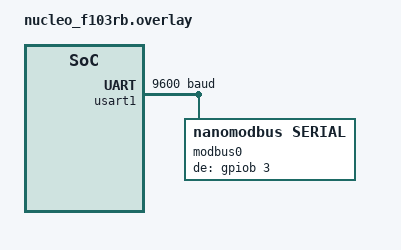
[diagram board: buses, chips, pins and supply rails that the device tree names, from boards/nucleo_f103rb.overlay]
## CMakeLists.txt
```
cmake_minimum_required(VERSION 3.20.0)

list(APPEND ZEPHYR_EXTRA_MODULES ${CMAKE_CURRENT_SOURCE_DIR}/../..)

find_package(Zephyr REQUIRED HINTS $ENV{ZEPHYR_BASE})
project(nanomodbus_client_rtu)
target_sources(app PRIVATE src/main.c)
```

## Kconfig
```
# Copyright (c) 2026 nanoMODBUS Contributors
# SPDX-License-Identifier: MIT

mainmenu "nanoMODBUS RTU client sample"

config CLIENT_RTU_POLLING
	bool "Poll the RTU server from main()"
	default n
	help
	  Run the sample's built-in FC03/FC06 polling loop.

	  The loop is disabled by default, so the client starts, registers with the
	  shell and then leaves the RTU bus idle. That keeps the bus free for an
	  external Modbus master or for the interactive "nmbs" shell commands.

	  Enable it to make the sample a self-contained client that reads holding
	  registers and bumps a heartbeat register every second:

	    west build -p always -b nucleo_h743zi samples/client_rtu \
	      -d build_client_rtu \
	      -- -DCONFIG_CLIENT_RTU_POLLING=y

source "Kconfig.zephyr"
```

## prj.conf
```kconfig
CONFIG_NANOMODBUS=y
CONFIG_NANOMODBUS_CLIENT=y
CONFIG_NANOMODBUS_TRANSPORT_SERIAL=y
CONFIG_SERIAL=y
CONFIG_GPIO=y
CONFIG_LOG=y
CONFIG_SHELL=y
CONFIG_SHELL_BACKENDS=y
CONFIG_SHELL_BACKEND_SERIAL=y
CONFIG_NANOMODBUS_SHELL=y
```

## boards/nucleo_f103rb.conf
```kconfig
# Copyright (c) 2026 nanoMODBUS Contributors
# SPDX-License-Identifier: MIT

# Interrupt-driven receive keeps the client usable while it sleeps between
# polls, without requiring DMA-capable (non-cacheable) buffers. No STM32F1
# UART node exposes DMA channels, so "auto" would resolve here as well; the
# overlay states it explicitly.
CONFIG_UART_INTERRUPT_DRIVEN=y
CONFIG_UART_USE_RUNTIME_CONFIGURE=y
```

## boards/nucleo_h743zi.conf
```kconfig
# Copyright (c) 2026 nanoMODBUS Contributors
# SPDX-License-Identifier: MIT

# Interrupt-driven receive keeps the client usable while it sleeps between
# polls, without requiring DMA-capable (non-cacheable) buffers.
CONFIG_UART_INTERRUPT_DRIVEN=y
CONFIG_UART_USE_RUNTIME_CONFIGURE=y
```

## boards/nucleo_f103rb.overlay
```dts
/*
 * Copyright (c) 2026 nanoMODBUS Contributors
 * SPDX-License-Identifier: MIT
 *
 * USART1 is the Modbus RTU bus on PA9 (TX) / PA10 (RX). This board devicetree
 * already muxes those pins at 115200, and it keeps the console and the shell
 * backend on USART2 (PA2/PA3), the ST-LINK virtual COM port, so the two do not
 * conflict. Only the Modbus child node has to be added here.
 *
 * PB3 drives the RS-485 transceiver RE/DE pin in software GPIO mode.
 * Because RE (active-low) and DE (active-high) are tied together on this
 * transceiver, a single active-high GPIO acts as both: high = TX, low = RX.
 *
 * PB3 is JTDO out of reset, so it cannot act as a GPIO while the full SWJ
 * configuration is selected. "jtag-disable" writes SWJ_CFG = 010, which
 * releases PB3, PB4 and PA15 while keeping SWD (PA13/PA14) available for
 * flashing and debugging.
 */

/ {
	aliases {
		modbus-uart = &usart1;
		modbus0 = &modbus0;
	};
};

// &pinctrl {
// 	swj-cfg = "jtag-disable";
// };

&usart1 {
	current-speed = <9600>;
	status = "okay";

	modbus0: modbus0 {
		compatible = "nanomodbus,serial";
		status = "okay";
		#address-cells = <1>;
		#size-cells = <0>;
		de-gpios = <&gpiob 3 GPIO_ACTIVE_HIGH>;
		de-mode = "auto";
		rx-mode = "auto";

		client_target: slave@1 {
			reg = <1>;
		};
	};
};
```

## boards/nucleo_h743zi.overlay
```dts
/*
 * Copyright (c) 2026 nanoMODBUS Contributors
 * SPDX-License-Identifier: MIT
 *
 * USART2 is the Modbus RTU bus on PD5 (TX) / PD6 (RX). The console uses the
 * ST-LINK virtual COM port (USART3), so the two do not conflict.
 *
 * PD4 drives the RS-485 transceiver RE/DE pin in software GPIO mode.
 * Because RE (active-low) and DE (active-high) are tied together on this
 * transceiver, a single active-high GPIO acts as both: high = TX, low = RX.
 */

/ {
	aliases {
		modbus-uart = &usart2;
		modbus0 = &modbus0;
	};
};

&usart2 {
	pinctrl-0 = <&usart2_tx_pd5 &usart2_rx_pd6>;
	pinctrl-names = "default";
	current-speed = <115200>;
	status = "okay";

	modbus0: modbus0 {
		compatible = "nanomodbus,serial";
		status = "okay";
		#address-cells = <1>;
		#size-cells = <0>;
		de-gpios = <&gpiod 4 GPIO_ACTIVE_HIGH>;
		de-mode = "auto";
		rx-mode = "auto";

		client_target: slave@1 {
			reg = <1>;
		};
	};
};
```

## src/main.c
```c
/*
 * Copyright (c) 2026 nanoMODBUS Contributors
 * SPDX-License-Identifier: MIT
 *
 * Modbus RTU client sample.
 *
 * USART2 is the Modbus bus. On the Nucleo-H743ZI the ST-LINK virtual COM port
 * (and therefore the console) is USART3, so the two do not conflict. The
 * board overlay only muxes TX/RX: this sample assumes a full-duplex link, such
 * as the USB-RS232 converter used on the bench. Add a `modbus-de` GPIO (or
 * hardware `de-enable` in devicetree) if your transceiver needs DE control.
 */

#include <zephyr/device.h>
#include <zephyr/drivers/gpio.h>
#include <zephyr/drivers/uart.h>
#include <zephyr/kernel.h>
#include <zephyr/logging/log.h>
#include <zephyr/nanomodbus/nanomodbus_z.h>
#include <zephyr/nanomodbus/nanomodbus_z_serial.h>
#ifdef CONFIG_NANOMODBUS_SHELL
#include <zephyr/nanomodbus/nanomodbus_z_shell.h>
#endif

LOG_MODULE_REGISTER(client_rtu_app, CONFIG_NANOMODBUS_LOG_LEVEL);

#define POLL_INTERVAL_MS 1000
#define READ_QUANTITY 4
#define HEARTBEAT_REGISTER 10

#if DT_NODE_EXISTS(DT_NODELABEL(modbus0))
#define MODBUS_NODE DT_NODELABEL(modbus0)
#elif DT_HAS_COMPAT_STATUS_OKAY(nanomodbus_serial)
#define MODBUS_NODE DT_COMPAT_GET_ANY_STATUS_OKAY(nanomodbus_serial)
#elif DT_HAS_COMPAT_STATUS_OKAY(zephyr_modbus_serial)
#define MODBUS_NODE DT_COMPAT_GET_ANY_STATUS_OKAY(zephyr_modbus_serial)
#elif DT_HAS_ALIAS(modbus_uart)
#define MODBUS_NODE DT_ALIAS(modbus_uart)
#elif DT_NODE_EXISTS(DT_CHOSEN(zephyr_console))
#define MODBUS_NODE DT_CHOSEN(zephyr_console)
#elif DT_NODE_EXISTS(DT_NODELABEL(usart3))
#define MODBUS_NODE DT_NODELABEL(usart3)
#else
#define MODBUS_NODE DT_INVALID_NODE
#endif

#if DT_NODE_EXISTS(DT_NODELABEL(client_target))
#define SERVER_ADDRESS NMBS_Z_DT_SLAVE_ID(DT_NODELABEL(client_target))
#else
#define SERVER_ADDRESS 1
#endif

static const char* rx_mode_name(nmbs_z_serial_rx_mode_t mode) {
    switch (mode) {
        case NMBS_Z_SERIAL_RX_IRQ:
            return "IRQ";
        case NMBS_Z_SERIAL_RX_ASYNC:
            return "async/DMA";
        case NMBS_Z_SERIAL_RX_EXTERNAL:
        default:
            return "external polling";
    }
}

int main(void) {
    LOG_INF("nanoMODBUS RTU Client Sample Application Starting...");

#if DT_NODE_EXISTS(MODBUS_NODE)
    nmbs_z_serial_transport_config_t config = NMBS_Z_SERIAL_TRANSPORT_CONFIG_DT(MODBUS_NODE);
#else
    nmbs_z_serial_transport_config_t config = {0};
#endif

    if (!config.uart_dev || !device_is_ready(config.uart_dev)) {
        LOG_ERR("Modbus UART not ready or not found");
        return -ENODEV;
    }

    /* The transport registration lasts as long as the client. */
    static nmbs_z_serial_transport_t transport;

    nmbs_platform_conf platform;
    int ret = nmbs_z_serial_transport_init(&transport, &config, &platform);
    if (ret != 0) {
        LOG_ERR("Failed to initialize RTU transport: %d", ret);
        return ret;
    }

    static nmbs_z_client_t client;
    ret = nmbs_z_client_init(&client, &platform);
    if (ret != 0) {
        LOG_ERR("Failed to initialize Modbus client: %d", ret);
        return ret;
    }

#ifdef CONFIG_NANOMODBUS_SHELL
    ret = nmbs_z_shell_register_client("rtu0", &client);
    if (ret != 0) {
        LOG_WRN("Failed to register client with shell: %d", ret);
    }
    else {
        LOG_INF("Registered client 'rtu0' with shell CLI");
    }
#endif

    ret = nmbs_z_client_set_target_address(&client, SERVER_ADDRESS, K_MSEC(100));
    if (ret != 0) {
        LOG_ERR("Failed to set target address: %d", ret);
        return ret;
    }

    LOG_INF("Modbus RTU client started (server %u, 115200 bps, RX %s)", SERVER_ADDRESS, rx_mode_name(config.rx_mode));

#if defined(CONFIG_CLIENT_RTU_POLLING)
    uint16_t heartbeat = 0;

    while (1) {
        uint16_t registers[READ_QUANTITY] = {0};

        ret = nmbs_z_client_read_holding_registers(&client, 0, READ_QUANTITY, registers, K_MSEC(500));
        if (ret == 0) {
            LOG_INF("Holding registers [0..%d]: %u, %u, %u, %u", READ_QUANTITY - 1, registers[0], registers[1],
                    registers[2], registers[3]);
        }
        else {
            LOG_WRN("Read failed: %d (nmbs_error %d)", ret, nmbs_z_client_get_last_error(&client));
        }

        ret = nmbs_z_client_write_single_register(&client, HEARTBEAT_REGISTER, heartbeat, K_MSEC(500));
        if (ret == 0) {
            LOG_INF("Heartbeat register [%u] <- %u", HEARTBEAT_REGISTER, heartbeat);
        }
        else {
            LOG_WRN("Write failed: %d (nmbs_error %d)", ret, nmbs_z_client_get_last_error(&client));
        }

        heartbeat++;
        k_sleep(K_MSEC(POLL_INTERVAL_MS));
    }
#else
    /* The bus belongs to whoever drives it: an external Modbus master, or the
     * "nmbs" shell commands. Nothing is polled automatically.
     */
    LOG_INF("Automatic polling disabled; use the 'nmbs' shell commands or build "
            "with -DCONFIG_CLIENT_RTU_POLLING=y");
#ifndef CONFIG_NANOMODBUS_SHELL
    LOG_WRN("Polling is disabled and the shell is not built, so the client stays idle");
#endif
#endif /* CONFIG_CLIENT_RTU_POLLING */

    return 0;
}
```
